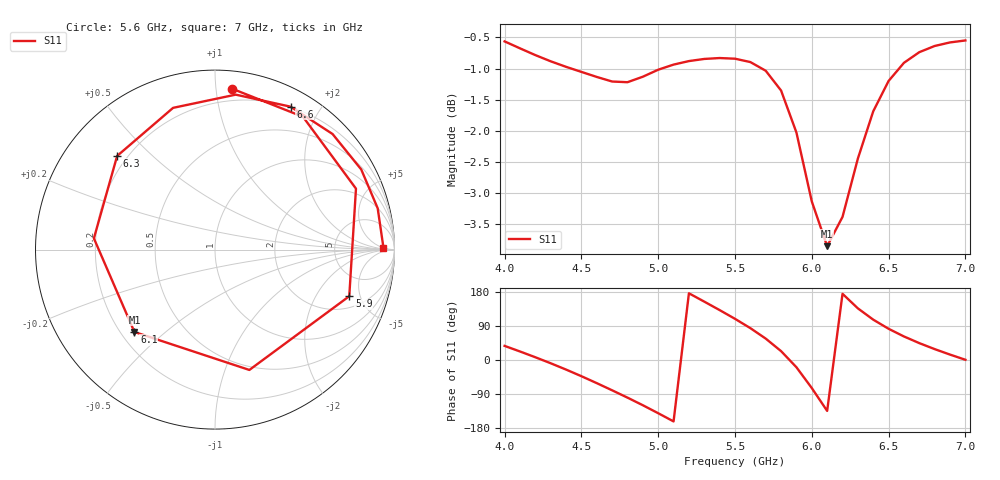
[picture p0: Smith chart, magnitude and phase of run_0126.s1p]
! Touchstone file exported from HFSS 2024.2.0
!  File:  C:/Users/wsak9/Desktop/Sim Fast/Widenad Patch/WP_AI_V1_sweep.aedt
!  Generated:  08:10:50 PM Oct 13, 2026
!  Design:  A1_model
!  Project:  WP_AI_V1_sweep
!  Setup:  Setup1
!  Solution:  Sweep
! Variables:
!  Air_gap = 3.6mm
!  Curve_Amp1 = 0.9
!  Curve_len1 = 1
!  Curve_pos = 10.215mm
!  Extra = 6.04mm
!  H_sub = 0.79mm
!  L_Patch = 16.43mm
!  L_Patch1 = 22.34mm
!  Sx = 4.55mm
!  Sy = 2.26mm
!  WS = 0.81mm
!  W_Patch = 17.32mm
!  W_Patch1 = 16.3mm
!Data is not renormalized
# GHz S MA
! Terminal data exported
! Port[1] = 1
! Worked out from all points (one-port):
!   31 points, 4 GHz to 7 GHz, reference per port
!   lowest |S11| = -3.8 dB at 6.1 GHz (marker M1), VSWR 4.59
!   |S11| at or under -10 dB: nowhere
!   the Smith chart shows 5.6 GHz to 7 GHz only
!   S11 on the Smith chart (normalised r, x): 5.6 GHz: 0.11, +1.10; 5.9 GHz: 2.85, -3.97; 6.1 GHz: 0.25, -0.40; 6.3 GHz: 0.16, +0.39; 6.6 GHz: 0.19, +1.64; 7 GHz: 31, +5
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4  0.937 37.2
4.2  0.9136 7.3
4.3  0.9032 -8.6
4.4  0.894 -25.3
4.6  0.8775 -61.1
4.7  0.8701 -80.0
4.8  0.869 -99.3
4.9  0.8779 -119.4
5  0.8893 -140.4
5.1  0.8977 -162.1
5.2  0.9036 176.0
5.3  0.9071 154.0
5.4  0.9086 131.7
5.5  0.9075 108.6
5.6  0.9019 84.0
5.7  0.8876 56.5
5.8  0.8558 23.4
5.9  0.7919 -19.1
6  0.6973 -74.1
6.1  0.642 -134.4
6.2  0.6777 174.7
6.3  0.7547 136.3
6.4  0.8236 106.5
6.5  0.871 82.4
6.6  0.9007 62.1
6.7  0.9185 44.5
6.8  0.9291 28.7
7  0.9386 0.6
